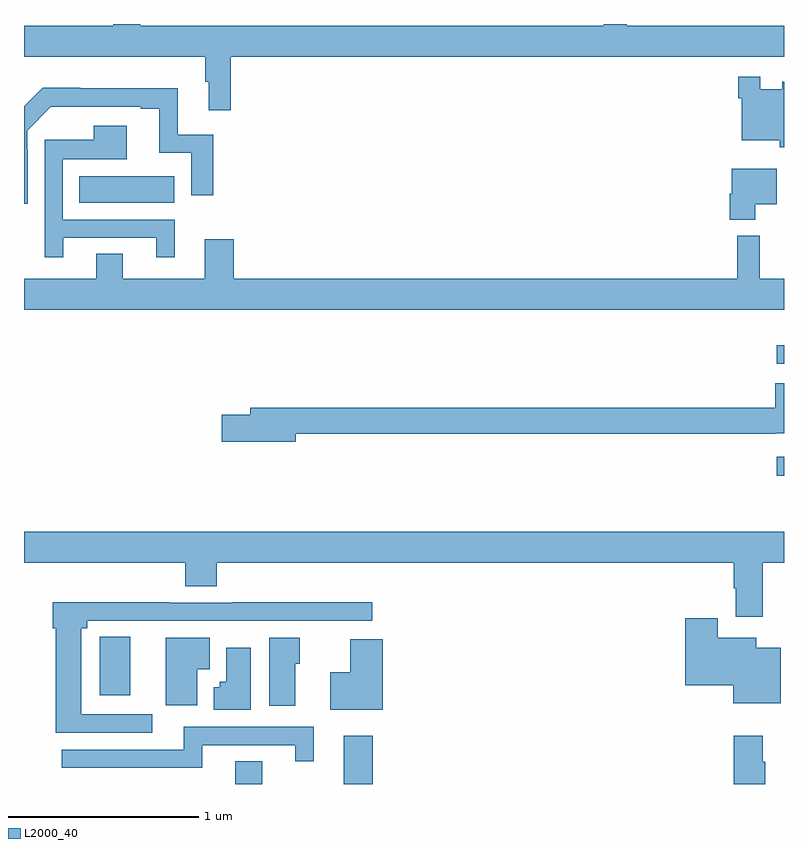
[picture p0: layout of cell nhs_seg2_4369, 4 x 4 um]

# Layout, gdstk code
import gdstk
lib = gdstk.Library(unit=1e-6, precision=1e-09)
def R(c, l, rs):  # rectangles x0, y0, x1, y1
    for r in rs: c.add(gdstk.rectangle(r[:2], r[2:], *l))
def P(c, l, *ps):  # polygons
    for p in ps: c.add(gdstk.Polygon(p, *l))
L2000_40 = (2000, 40)

nhs_seg2_4369 = lib.new_cell('nhs_seg2_4369')
R(nhs_seg2_4369, L2000_40, [(348.113,651.8,348.253,651.92), (348.683,651.8,348.836,652.054), (347.399,652.266,347.56,652.574), (350.961,653.422,351,653.523), (350.961,654.012,351,654.11), (347.29,654.86,347.791,655)])
P(nhs_seg2_4369, L2000_40, [(348.089,655.628),(351,655.628),(351,655.792),(350.173,655.792),(350.173,655.8),(350.051,655.8),(350.051,655.792),(347.611,655.792),(347.611,655.8),(347.471,655.8),(347.471,655.792),(347,655.792),(347,655.628),(347.953,655.628),(347.953,655.496),(347.972,655.496),(347.972,655.347),(348.089,655.347)],
  [(351,655.495),(350.99,655.495),(350.99,655.456),(350.874,655.456),(350.874,655.522),(350.758,655.522),(350.758,655.409),(350.778,655.409),(350.778,655.187),(350.978,655.187),(350.978,655.151),(351,655.151)],
  [(347.019,655.139),(347.016,655.139),(347.016,655.239),(347.142,655.365),(347.615,655.365),(347.615,655.353),(347.711,655.353),(347.711,655.122),(347.88,655.122),(347.88,654.9),(347.996,654.9),(347.996,655.218),(347.809,655.218),(347.809,655.462),(347.297,655.462),(347.297,655.465),(347.098,655.465),(347,655.367),(347,654.854),(347.019,654.854)],
  [(347.206,654.675),(347.696,654.675),(347.696,654.573),(347.794,654.573),(347.794,654.771),(347.205,654.771),(347.205,655.088),(347.542,655.088),(347.542,655.264),(347.366,655.264),(347.366,655.192),(347.109,655.192),(347.109,654.573),(347.206,654.573)],
  [(350.848,654.851),(350.962,654.851),(350.962,655.039),(350.726,655.039),(350.726,654.906),(350.714,654.906),(350.714,654.77),(350.848,654.77)],
  [(351,654.46),(350.873,654.46),(350.873,654.685),(350.755,654.685),(350.755,654.46),(348.104,654.46),(348.104,654.667),(347.951,654.667),(347.951,654.46),(347.521,654.46),(347.521,654.59),(347.381,654.59),(347.381,654.46),(347,654.46),(347,654.296),(351,654.296)],
  [(348.43,653.644),(350.958,653.644),(350.958,653.645),(351,653.645),(351,653.908),(350.954,653.908),(350.954,653.78),(348.191,653.78),(348.191,653.744),(348.042,653.744),(348.042,653.602),(348.43,653.602)],
  [(347,652.964),(347.849,652.964),(347.849,652.84),(348.014,652.84),(348.014,652.964),(350.735,652.964),(350.735,652.83),(350.747,652.83),(350.747,652.68),(350.887,652.68),(350.887,652.964),(351,652.964),(351,653.128),(347,653.128)],
  [(347.674,652.167),(347.302,652.167),(347.302,652.62),(347.332,652.62),(347.332,652.659),(348.832,652.659),(348.832,652.757),(348.097,652.757),(348.097,652.755),(347.765,652.755),(347.765,652.757),(347.15,652.757),(347.15,652.62),(347.168,652.62),(347.168,652.071),(347.674,652.071)],
  [(350.983,652.516),(350.854,652.516),(350.854,652.57),(350.65,652.57),(350.65,652.672),(350.48,652.672),(350.48,652.319),(350.732,652.319),(350.732,652.226),(350.983,652.226)],
  [(347.911,652.405),(347.977,652.405),(347.977,652.57),(347.747,652.57),(347.747,652.215),(347.911,652.215)],
  [(348.427,652.434),(348.451,652.434),(348.451,652.57),(348.29,652.57),(348.29,652.212),(348.427,652.212)],
  [(348.887,652.561),(348.716,652.561),(348.716,652.387),(348.611,652.387),(348.611,652.19),(348.887,652.19)],
  [(348.193,652.516),(348.065,652.516),(348.065,652.338),(348.03,652.338),(348.03,652.31),(347.999,652.31),(347.999,652.19),(348.193,652.19)],
  [(347.938,652.005),(348.428,652.005),(348.428,651.921),(348.526,651.921),(348.526,652.101),(347.84,652.101),(347.84,651.981),(347.199,651.981),(347.199,651.885),(347.938,651.885)],
  [(350.9,651.917),(350.887,651.917),(350.887,652.054),(350.735,652.054),(350.735,651.8),(350.9,651.8)])

lib.write_gds('nhs_seg2_4369.gds')
